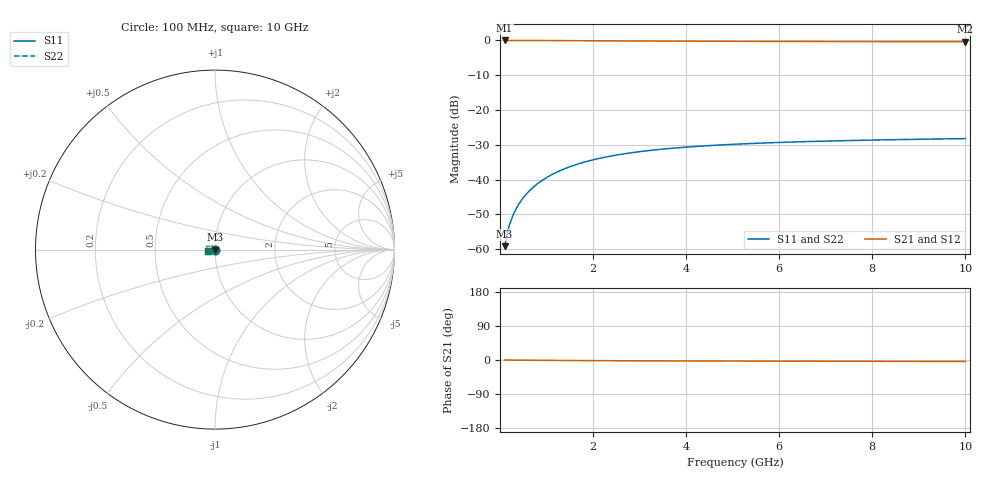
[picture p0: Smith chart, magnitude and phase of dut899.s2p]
! Touchstone file exported from HFSS 2024.1.0
!  File:  C:/UserFiles/LocalFiles/RDL_TSV_Batchsim/temp_TSV1_899_1779885571.aedt
!  Generated:  08:45:13 PM May 27, 2026
!  Design:  TSV1
!  Project:  temp_TSV1_899_1779885571
!  Setup:  Setup1
!  Solution:  Sweep
! Variables:
!  dtsv = 12.75um
!  hbump = 3um
!  htsv = 57.46um
!  lrdl = 252.1521522um
!  p = 40
!  p1 = 51.11um
!  t = 500um
!  trdl = 3um
!  wrdl = 24.89489489um
# GHz S MA R 50.000000
! Terminal data exported
! Port[1] = TSV22_T1
! Port[2] = TSV22_T2
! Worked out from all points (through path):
!   100 points, 100 MHz to 10 GHz, reference 50 ohm
!   highest |S21| = 0.00 dB at 100 MHz (marker M1); lowest = -0.3 dB at 10 GHz (marker M2)
!   lowest |S11| = -59.1 dB at 100 MHz (marker M3), VSWR 1.00, Z = 50 - j0.111 ohm
!   |S11| at or under -10 dB: start of sweep to end of sweep
!   |S22| runs from -59.1 to -28.2 dB; largest |S21 - S12| = 2.2e-15
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0.1  0.001108 -87.9  0.9999 -0.1  0.9999 -0.1  0.001108 -87.9
! Gamma 0 0 0 0
! Port Impedance 50 0 50 0
0.2  0.002212 -91.4  0.9998 -0.2  0.9998 -0.2  0.002212 -91.4
0.3  0.003316 -93.8  0.9996 -0.3  0.9996 -0.3  0.003316 -93.8
0.4  0.004416 -95.8  0.9993 -0.4  0.9993 -0.4  0.004416 -95.8
0.5  0.005506 -97.8  0.999 -0.5  0.999 -0.5  0.005506 -97.8
0.6  0.006582 -99.6  0.9986 -0.6  0.9986 -0.6  0.006582 -99.6
0.7  0.007643 -101.5  0.9982 -0.7  0.9982 -0.7  0.007643 -101.5
0.8  0.008685 -103.3  0.9977 -0.8  0.9977 -0.8  0.008685 -103.3
0.9  0.009707 -105.0  0.9972 -0.9  0.9972 -0.9  0.009707 -105.0
1.1  0.01168 -108.4  0.996 -1.0  0.996 -1.0  0.01168 -108.4
1.4  0.01445 -113.2  0.994 -1.3  0.994 -1.3  0.01445 -113.2
1.6  0.01616 -116.3  0.9926 -1.4  0.9926 -1.4  0.01616 -116.3
1.8  0.01776 -119.1  0.9911 -1.5  0.9911 -1.5  0.01776 -119.1
2.1  0.01996 -123.2  0.9888 -1.7  0.9888 -1.7  0.01996 -123.2
2.5  0.02253 -128.1  0.9859 -1.9  0.9859 -1.9  0.02253 -128.1
2.9  0.02474 -132.6  0.9831 -2.1  0.9831 -2.1  0.02474 -132.6
3.4  0.02705 -137.5  0.9799 -2.3  0.9799 -2.3  0.02705 -137.5
4.2  0.02996 -144.2  0.9755 -2.5  0.9755 -2.5  0.02996 -144.2
5.1  0.0324 -150.4  0.9716 -2.8  0.9716 -2.8  0.0324 -150.4
6.7  0.03538 -159.1  0.9665 -3.1  0.9665 -3.1  0.03538 -159.1
8.4  0.03746 -166.2  0.963 -3.5  0.963 -3.5  0.03746 -166.2
10  0.03886 -171.8  0.9607 -3.9  0.9607 -3.9  0.03886 -171.8
